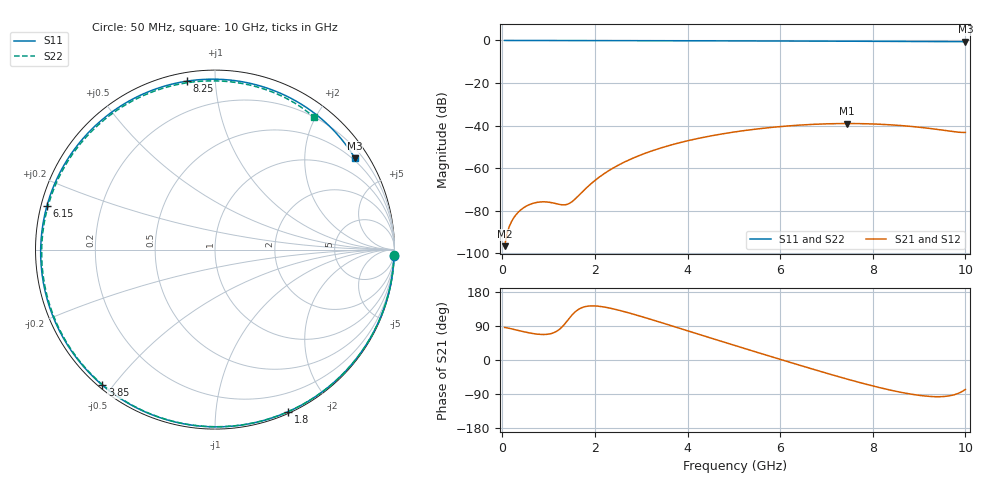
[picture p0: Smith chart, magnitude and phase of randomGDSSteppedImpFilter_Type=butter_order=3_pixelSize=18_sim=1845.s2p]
! freq	dB(S11)	phase(S11)	dB(S12)	phase(S12)
!  dB(S21)	phase(S21)	dB(S22)	phase(S22)
!S-par simulation data
#  GHz  S  DB  R 50
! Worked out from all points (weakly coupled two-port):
!   200 points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, 50 MHz to 10 GHz, reference 50 ohm
!   highest |S21| = -39.04 dB at 7.45 GHz (marker M1); lowest = -96.6 dB at 50 MHz (marker M2)
!   lowest |S11| = -0.6 dB at 10 GHz (marker M3), VSWR 28.04, Z = 21.6 + j165 ohm
!   |S11| at or under -10 dB: nowhere
!   |S22| runs from -0.7 to 0.0 dB; largest |S21 - S12| = 0
!   S11 on the Smith chart (normalised r, x): 50 MHz: 4, -59; 1.8 GHz: 0.02, -1.55; 3.85 GHz: 0.01, -0.47; 6.15 GHz: 0.02, +0.13; 8.25 GHz: 0.04, +0.84; 10 GHz: 0.43, +3.31
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0.05  -0.02 -1.9  -96.64 85.9  -96.64 85.9  -0.02 -1.6
0.35  -0.03 -13.2  -80.58 77.8  -80.58 77.8  -0.02 -11.1
0.6  -0.03 -22.6  -77.00 71.1  -77.00 71.1  -0.03 -19.1
0.8  -0.04 -30.0  -75.92 67.7  -75.92 67.7  -0.03 -25.4
1.4  -0.06 -51.7  -77.01 102.9  -77.01 102.9  -0.06 -44.0
1.75  -0.08 -63.9  -70.68 139.5  -70.68 139.5  -0.07 -54.6
1.8  -0.08 -65.6  -69.62 141.1  -69.62 141.1  -0.07 -56.1
2.1  -0.09 -75.7  -64.11 141.6  -64.11 141.6  -0.08 -65.1
2.45  -0.11 -87.2  -59.26 133.4  -59.26 133.4  -0.10 -75.3
3.4  -0.14 -116.6  -50.68 100.0  -50.68 100.0  -0.13 -102.2
3.85  -0.16 -129.8  -47.94 82.9  -47.94 82.9  -0.15 -114.6
4.45  -0.19 -146.9  -45.07 60.0  -45.07 60.0  -0.18 -130.8
5.05  -0.22 -163.7  -42.88 37.2  -42.88 37.2  -0.22 -147.0
5.6  -0.25 -179.1  -41.35 16.6  -41.35 16.6  -0.25 -162.0
6.15  -0.29 165.3  -40.20 -3.8  -40.20 -3.8  -0.29 -177.2
6.7  -0.32 149.2  -39.44 -24.0  -39.44 -24.0  -0.34 167.0
7.45  -0.38 126.1  -39.04 -50.5  -39.04 -50.5  -0.40 144.3
8.25  -0.43 99.6  -39.49 -75.9  -39.49 -75.9  -0.47 118.2
8.35  -0.44 96.1  -39.61 -78.6  -39.61 -78.6  -0.48 114.8
9.2  -0.50 65.1  -41.26 -95.9  -41.26 -95.9  -0.55 84.4
9.6  -0.55 49.5  -42.44 -95.5  -42.44 -95.5  -0.59 69.3
10  -0.62 33.2  -43.20 -77.7  -43.20 -77.7  -0.72 53.4
